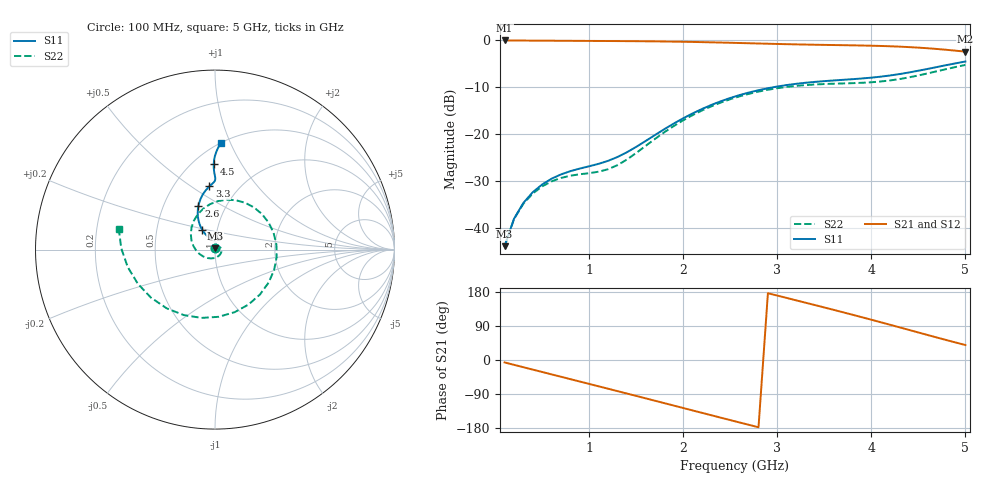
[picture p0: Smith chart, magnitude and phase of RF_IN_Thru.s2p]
! Created Wed Jul 14 08:50:00 2021
! List of port names and net name(s): example Port n = <port_name> <net_name1> <net_name2> ...
! Port 1 = P1 RF_IN GND GND
! Port 2 = P2 NetDD1_9 GND
# hz S ri R 50
! 2 Port Network Data from data block
! freq  reS11  imS11  reS21  imS21  reS12  imS12  reS22  imS22
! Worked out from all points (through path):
!   50 points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, 100 MHz to 5 GHz, reference 50 ohm
!   highest |S21| = -0.02 dB at 100 MHz (marker M1); lowest = -2.4 dB at 5 GHz (marker M2)
!   group delay of S21, straight-line fit = 177 ps
!   lowest |S11| = -43.8 dB at 100 MHz (marker M3), VSWR 1.01, Z = 50.1 + j0.645 ohm
!   |S11| at or under -10 dB: start of sweep to 2.949 GHz
!   |S22| runs from -43.8 to -5.2 dB; largest |S21 - S12| = 0
!   S11 on the Smith chart (normalised r, x): 100 MHz: 1.00, +0.01; 1.9 GHz: 0.85, +0.19; 2.6 GHz: 0.74, +0.39; 3.3 GHz: 0.74, +0.59; 4.5 GHz: 0.62, +0.77; 5 GHz: 0.50, +0.92
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1e8  0.0006 0.00645  0.9919 -0.1115  0.9919 -0.1115  0.00162 0.00628
2e8  0.00102 0.0126  0.9722 -0.22  0.9722 -0.22  0.0049 0.0116
3e8  0.00168 0.0186  0.9409 -0.3252  0.9409 -0.3252  0.00991 0.0154
4e8  0.00251 0.0242  0.8983 -0.426  0.8983 -0.426  0.0161 0.0172
7e8  0.00413 0.0373  0.7094 -0.6912  0.7094 -0.6912  0.0337 0.00683
1e9  -0.000433 0.0458  0.4458 -0.8805  0.4458 -0.8805  0.032 -0.0219
1.2e9  -0.00944 0.0515  0.242 -0.9543  0.242 -0.9543  0.0122 -0.0409
1.4e9  -0.0236 0.0601  0.0266 -0.9813  0.0266 -0.9813  -0.0222 -0.0492
1.8e9  -0.0615 0.0959  -0.3949 -0.8894  -0.3949 -0.8894  -0.1055 -0.00434
1.9e9  -0.0709 0.1098  -0.49 -0.8372  -0.49 -0.8372  -0.1211 0.0216
2.3e9  -0.0952 0.1827  -0.7897 -0.5345  -0.7897 -0.5345  -0.1178 0.1607
2.6e9  -0.0921 0.2455  -0.9054 -0.2436  -0.9054 -0.2436  -0.0288 0.2525
3e9  -0.0613 0.3172  -0.902 0.1597  -0.902 0.1597  0.167 0.2613
3.3e9  -0.0307 0.3529  -0.7911 0.4347  -0.7911 0.4347  0.299 0.1503
3.4e9  -0.0215 0.3613  -0.7357 0.5164  -0.7357 0.5164  0.3266 0.0929
3.6e9  -0.00709 0.3748  -0.6001 0.6602  -0.6001 0.6602  0.3436 -0.0418
3.8e9  0.000539 0.3866  -0.4348 0.7715  -0.4348 0.7715  0.2985 -0.1843
4e9  0.00117 0.4015  -0.246 0.8423  -0.246 0.8423  0.1874 -0.3057
4.2e9  -0.00289 0.4235  -0.044 0.8646  -0.044 0.8646  0.021 -0.3744
4.5e9  -0.00714 0.4756  0.2504 0.7988  0.2504 0.7988  -0.269 -0.3272
4.8e9  0.00773 0.5461  0.4834 0.6295  0.4834 0.6295  -0.4862 -0.0973
5e9  0.0339 0.595  0.5851 0.4827  0.5851 0.4827  -0.5359 0.115
